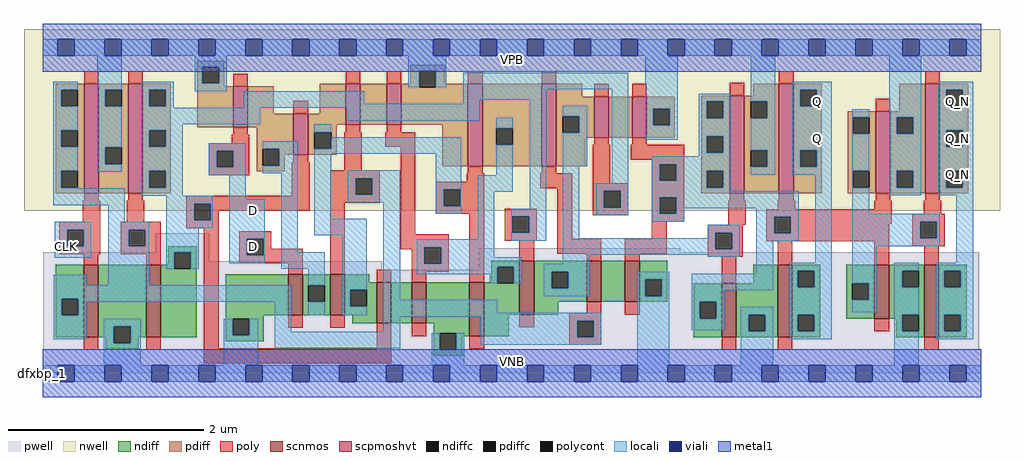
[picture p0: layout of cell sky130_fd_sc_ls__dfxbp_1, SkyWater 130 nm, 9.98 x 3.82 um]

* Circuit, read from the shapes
.subckt sky130_fd_sc_ls__dfxbp_1 CLK D VGND VNB VPB VPWR Q Q_N
XM1 VGND CLK n1 VNB sky130_fd_pr__nfet_01v8 w=0.74 l=0.15
XM2 n2 n1 VGND VNB sky130_fd_pr__nfet_01v8 w=0.74 l=0.15
XM3 n3 D VGND VNB sky130_fd_pr__nfet_01v8 w=0.42 l=0.15
XM4 n4 n1 n3 VNB sky130_fd_pr__nfet_01v8 w=0.42 l=0.15
XM5 n5 n2 n4 VNB sky130_fd_pr__nfet_01v8 w=0.42 l=0.15
XM6 VGND n6 n5 VNB sky130_fd_pr__nfet_01v8 w=0.42 l=0.15
XM7 n6 n4 VGND VNB sky130_fd_pr__nfet_01v8 w=0.55 l=0.15
XM8 n7 n2 n6 VNB sky130_fd_pr__nfet_01v8 w=0.55 l=0.15
XM9 n8 n1 n7 VNB sky130_fd_pr__nfet_01v8 w=0.42 l=0.15
XM10 VGND n9 n8 VNB sky130_fd_pr__nfet_01v8 w=0.42 l=0.15
XM11 VGND n7 n9 VNB sky130_fd_pr__nfet_01v8 w=0.55 l=0.15
XM12 Q n9 VGND VNB sky130_fd_pr__nfet_01v8 w=0.74 l=0.15
XM13 VGND n9 n10 VNB sky130_fd_pr__nfet_01v8 w=0.55 l=0.15
XM14 Q_N n10 VGND VNB sky130_fd_pr__nfet_01v8 w=0.74 l=0.15
XM15 VPWR CLK n1 VPB sky130_fd_pr__pfet_01v8_hvt w=1.12 l=0.15
XM16 n2 n1 VPWR VPB sky130_fd_pr__pfet_01v8_hvt w=1.12 l=0.15
XM17 n3 D VPWR VPB sky130_fd_pr__pfet_01v8_hvt w=0.42 l=0.15
XM18 n4 n2 n3 VPB sky130_fd_pr__pfet_01v8_hvt w=0.42 l=0.15
XM19 n11 n1 n4 VPB sky130_fd_pr__pfet_01v8_hvt w=0.42 l=0.15
XM20 VPWR n6 n11 VPB sky130_fd_pr__pfet_01v8_hvt w=0.42 l=0.15
XM21 n6 n4 VPWR VPB sky130_fd_pr__pfet_01v8_hvt w=0.84 l=0.15
XM22 n7 n1 n6 VPB sky130_fd_pr__pfet_01v8_hvt w=0.84 l=0.15
XM23 n12 n2 n7 VPB sky130_fd_pr__pfet_01v8_hvt w=0.42 l=0.15
XM24 VPWR n9 n12 VPB sky130_fd_pr__pfet_01v8_hvt w=0.42 l=0.15
XM25 VPWR n7 n9 VPB sky130_fd_pr__pfet_01v8_hvt w=1 l=0.15
XM26 Q n9 VPWR VPB sky130_fd_pr__pfet_01v8_hvt w=1.12 l=0.15
XM27 VPWR n9 n10 VPB sky130_fd_pr__pfet_01v8_hvt w=0.84 l=0.15
XM28 Q_N n10 VPWR VPB sky130_fd_pr__pfet_01v8_hvt w=1.12 l=0.15
.ends

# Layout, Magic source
magic
tech sky130A
magscale 1 2
<< nwell >>
rect -38 332 1958 704
<< pwell >>
rect 231 248 341 286
rect 1 229 341 248
rect 892 248 1304 256
rect 1 212 694 229
rect 892 212 1916 248
rect 1 49 1916 212
rect 0 0 1920 49
<< scnmos >>
rect 84 74 114 222
rect 212 74 242 222
rect 502 119 532 203
rect 588 119 618 203
rect 683 102 713 186
rect 755 102 785 186
rect 873 76 903 186
rect 975 120 1005 230
rect 1113 146 1143 230
rect 1191 146 1221 230
rect 1389 74 1419 184
rect 1503 74 1533 222
rect 1701 112 1731 222
rect 1803 74 1833 222
<< scpmoshvt >>
rect 85 368 115 592
rect 175 368 205 592
rect 390 503 420 587
rect 513 447 543 531
rect 620 508 650 592
rect 704 508 734 592
rect 870 424 900 592
rect 1021 424 1051 592
rect 1128 482 1158 566
rect 1206 482 1236 566
rect 1405 368 1435 568
rect 1506 368 1536 592
rect 1704 368 1734 536
rect 1805 368 1835 592
<< ndiff >>
rect 257 248 315 260
rect 257 222 269 248
rect 27 153 84 222
rect 27 119 39 153
rect 73 119 84 153
rect 27 74 84 119
rect 114 96 212 222
rect 114 74 146 96
rect 129 62 146 74
rect 180 74 212 96
rect 242 214 269 222
rect 303 214 315 248
rect 242 74 315 214
rect 180 62 197 74
rect 129 50 197 62
rect 375 119 502 203
rect 532 180 588 203
rect 532 146 543 180
rect 577 146 588 180
rect 532 119 588 146
rect 618 186 668 203
rect 918 218 975 230
rect 918 186 930 218
rect 618 171 683 186
rect 618 137 629 171
rect 663 137 683 171
rect 618 119 683 137
rect 375 112 452 119
rect 375 78 389 112
rect 423 78 452 112
rect 633 102 683 119
rect 713 102 755 186
rect 785 102 873 186
rect 375 66 452 78
rect 800 82 873 102
rect 800 48 812 82
rect 846 76 873 82
rect 903 184 930 186
rect 964 184 975 218
rect 903 120 975 184
rect 1005 208 1113 230
rect 1005 174 1041 208
rect 1075 174 1113 208
rect 1005 146 1113 174
rect 1143 146 1191 230
rect 1221 192 1278 230
rect 1221 158 1232 192
rect 1266 158 1278 192
rect 1453 184 1503 222
rect 1221 146 1278 158
rect 1332 146 1389 184
rect 1005 120 1055 146
rect 903 76 953 120
rect 846 48 858 76
rect 1332 112 1344 146
rect 1378 112 1389 146
rect 1332 74 1389 112
rect 1419 120 1503 184
rect 1419 86 1444 120
rect 1478 86 1503 120
rect 1419 74 1503 86
rect 1533 210 1590 222
rect 1533 176 1544 210
rect 1578 176 1590 210
rect 1533 120 1590 176
rect 1533 86 1544 120
rect 1578 86 1590 120
rect 1644 184 1701 222
rect 1644 150 1656 184
rect 1690 150 1701 184
rect 1644 112 1701 150
rect 1731 210 1803 222
rect 1731 176 1758 210
rect 1792 176 1803 210
rect 1731 120 1803 176
rect 1731 112 1758 120
rect 1746 86 1758 112
rect 1792 86 1803 120
rect 1533 74 1590 86
rect 1746 74 1803 86
rect 1833 210 1890 222
rect 1833 176 1844 210
rect 1878 176 1890 210
rect 1833 120 1890 176
rect 1833 86 1844 120
rect 1878 86 1890 120
rect 1833 74 1890 86
rect 800 36 858 48
<< pdiff >>
rect 316 627 372 639
rect 316 593 327 627
rect 361 593 372 627
rect 752 619 822 631
rect 27 580 85 592
rect 27 546 38 580
rect 72 546 85 580
rect 27 497 85 546
rect 27 463 38 497
rect 72 463 85 497
rect 27 414 85 463
rect 27 380 38 414
rect 72 380 85 414
rect 27 368 85 380
rect 115 580 175 592
rect 115 546 128 580
rect 162 546 175 580
rect 115 462 175 546
rect 115 428 128 462
rect 162 428 175 462
rect 115 368 175 428
rect 205 580 262 592
rect 205 546 218 580
rect 252 546 262 580
rect 205 497 262 546
rect 316 587 372 593
rect 752 592 770 619
rect 316 503 390 587
rect 420 531 473 587
rect 567 531 620 592
rect 420 503 513 531
rect 205 463 218 497
rect 252 463 262 497
rect 205 414 262 463
rect 205 380 218 414
rect 252 380 262 414
rect 438 459 513 503
rect 438 425 450 459
rect 484 447 513 459
rect 543 508 620 531
rect 650 508 704 592
rect 734 585 770 592
rect 804 592 822 619
rect 804 585 870 592
rect 734 508 870 585
rect 543 493 602 508
rect 543 459 556 493
rect 590 459 602 493
rect 543 447 602 459
rect 484 425 495 447
rect 438 413 495 425
rect 205 368 262 380
rect 817 424 870 508
rect 900 501 1021 592
rect 900 467 928 501
rect 962 467 1021 501
rect 900 424 1021 467
rect 1051 566 1104 592
rect 1453 568 1506 592
rect 1051 526 1128 566
rect 1051 492 1064 526
rect 1098 492 1128 526
rect 1051 482 1128 492
rect 1158 482 1206 566
rect 1236 541 1293 566
rect 1236 507 1249 541
rect 1283 507 1293 541
rect 1236 482 1293 507
rect 1347 556 1405 568
rect 1347 522 1358 556
rect 1392 522 1405 556
rect 1347 485 1405 522
rect 1051 424 1110 482
rect 1347 451 1358 485
rect 1392 451 1405 485
rect 1347 414 1405 451
rect 1347 380 1358 414
rect 1392 380 1405 414
rect 1347 368 1405 380
rect 1435 556 1506 568
rect 1435 522 1448 556
rect 1482 522 1506 556
rect 1435 456 1506 522
rect 1435 422 1448 456
rect 1482 422 1506 456
rect 1435 368 1506 422
rect 1536 580 1593 592
rect 1536 546 1549 580
rect 1583 546 1593 580
rect 1536 456 1593 546
rect 1752 536 1805 592
rect 1536 422 1549 456
rect 1583 422 1593 456
rect 1536 368 1593 422
rect 1647 524 1704 536
rect 1647 490 1657 524
rect 1691 490 1704 524
rect 1647 414 1704 490
rect 1647 380 1657 414
rect 1691 380 1704 414
rect 1647 368 1704 380
rect 1734 524 1805 536
rect 1734 490 1747 524
rect 1781 490 1805 524
rect 1734 414 1805 490
rect 1734 380 1747 414
rect 1781 380 1805 414
rect 1734 368 1805 380
rect 1835 580 1893 592
rect 1835 546 1848 580
rect 1882 546 1893 580
rect 1835 497 1893 546
rect 1835 463 1848 497
rect 1882 463 1893 497
rect 1835 414 1893 463
rect 1835 380 1848 414
rect 1882 380 1893 414
rect 1835 368 1893 380
<< ndiffc >>
rect 39 119 73 153
rect 146 62 180 96
rect 269 214 303 248
rect 543 146 577 180
rect 629 137 663 171
rect 389 78 423 112
rect 812 48 846 82
rect 930 184 964 218
rect 1041 174 1075 208
rect 1232 158 1266 192
rect 1344 112 1378 146
rect 1444 86 1478 120
rect 1544 176 1578 210
rect 1544 86 1578 120
rect 1656 150 1690 184
rect 1758 176 1792 210
rect 1758 86 1792 120
rect 1844 176 1878 210
rect 1844 86 1878 120
<< pdiffc >>
rect 327 593 361 627
rect 38 546 72 580
rect 38 463 72 497
rect 38 380 72 414
rect 128 546 162 580
rect 128 428 162 462
rect 218 546 252 580
rect 218 463 252 497
rect 218 380 252 414
rect 450 425 484 459
rect 770 585 804 619
rect 556 459 590 493
rect 928 467 962 501
rect 1064 492 1098 526
rect 1249 507 1283 541
rect 1358 522 1392 556
rect 1358 451 1392 485
rect 1358 380 1392 414
rect 1448 522 1482 556
rect 1448 422 1482 456
rect 1549 546 1583 580
rect 1549 422 1583 456
rect 1657 490 1691 524
rect 1657 380 1691 414
rect 1747 490 1781 524
rect 1747 380 1781 414
rect 1848 546 1882 580
rect 1848 463 1882 497
rect 1848 380 1882 414
<< poly >>
rect 85 592 115 618
rect 175 592 205 618
rect 390 587 420 613
rect 620 592 650 618
rect 704 592 734 618
rect 513 531 543 557
rect 390 488 420 503
rect 387 471 423 488
rect 340 455 423 471
rect 340 421 356 455
rect 390 421 423 455
rect 340 405 423 421
rect 870 592 900 618
rect 1021 592 1051 618
rect 620 493 650 508
rect 704 493 734 508
rect 513 432 543 447
rect 85 353 115 368
rect 175 353 205 368
rect 510 363 546 432
rect 617 415 653 493
rect 701 463 762 493
rect 82 310 118 353
rect 172 310 208 353
rect 294 347 546 363
rect 294 313 310 347
rect 344 333 546 347
rect 588 399 690 415
rect 588 365 640 399
rect 674 365 690 399
rect 588 349 690 365
rect 344 313 360 333
rect 34 294 118 310
rect 34 260 50 294
rect 84 260 118 294
rect 34 244 118 260
rect 160 294 242 310
rect 294 297 360 313
rect 160 260 176 294
rect 210 260 242 294
rect 160 244 242 260
rect 84 222 114 244
rect 212 222 242 244
rect 84 48 114 74
rect 212 48 242 74
rect 330 51 360 297
rect 402 275 468 291
rect 402 241 418 275
rect 452 255 468 275
rect 452 241 532 255
rect 402 225 532 241
rect 502 203 532 225
rect 588 203 618 349
rect 732 284 762 463
rect 1128 566 1158 592
rect 1206 566 1236 592
rect 1405 568 1435 594
rect 1506 592 1536 618
rect 1805 592 1835 618
rect 1128 467 1158 482
rect 1206 467 1236 482
rect 870 409 900 424
rect 1021 409 1051 424
rect 867 392 903 409
rect 804 376 903 392
rect 1018 379 1083 409
rect 804 342 820 376
rect 854 342 903 376
rect 804 326 903 342
rect 732 258 831 284
rect 732 254 781 258
rect 755 224 781 254
rect 815 224 831 258
rect 683 186 713 212
rect 755 208 831 224
rect 755 186 785 208
rect 873 186 903 326
rect 945 321 1011 337
rect 945 287 961 321
rect 995 287 1011 321
rect 945 271 1011 287
rect 1053 275 1083 379
rect 1125 389 1161 467
rect 1203 437 1312 467
rect 1246 428 1312 437
rect 1246 394 1262 428
rect 1296 394 1312 428
rect 1125 373 1198 389
rect 1125 339 1148 373
rect 1182 339 1198 373
rect 1125 323 1198 339
rect 1246 360 1312 394
rect 1704 536 1734 562
rect 1246 326 1262 360
rect 1296 326 1312 360
rect 1405 353 1435 368
rect 1506 353 1536 368
rect 1704 353 1734 368
rect 1805 353 1835 368
rect 1246 310 1312 326
rect 1246 275 1276 310
rect 1402 304 1438 353
rect 1503 336 1539 353
rect 1701 336 1737 353
rect 1480 320 1737 336
rect 1802 326 1838 353
rect 975 230 1005 271
rect 1053 245 1143 275
rect 1113 230 1143 245
rect 1191 245 1276 275
rect 1360 288 1432 304
rect 1360 254 1376 288
rect 1410 254 1432 288
rect 1480 286 1496 320
rect 1530 306 1737 320
rect 1779 310 1845 326
rect 1530 286 1731 306
rect 1480 270 1731 286
rect 1191 230 1221 245
rect 1360 238 1432 254
rect 502 93 532 119
rect 588 93 618 119
rect 683 51 713 102
rect 755 76 785 102
rect 330 21 713 51
rect 1389 184 1419 238
rect 1503 222 1533 270
rect 1701 222 1731 270
rect 1779 276 1795 310
rect 1829 276 1845 310
rect 1779 260 1845 276
rect 1803 222 1833 260
rect 1113 124 1143 146
rect 975 94 1005 120
rect 1077 108 1143 124
rect 1191 120 1221 146
rect 873 50 903 76
rect 1077 74 1093 108
rect 1127 74 1143 108
rect 1701 86 1731 112
rect 1077 58 1143 74
rect 1389 48 1419 74
rect 1503 48 1533 74
rect 1803 48 1833 74
<< polycont >>
rect 356 421 390 455
rect 310 313 344 347
rect 640 365 674 399
rect 50 260 84 294
rect 176 260 210 294
rect 418 241 452 275
rect 820 342 854 376
rect 781 224 815 258
rect 961 287 995 321
rect 1262 394 1296 428
rect 1148 339 1182 373
rect 1262 326 1296 360
rect 1376 254 1410 288
rect 1496 286 1530 320
rect 1795 276 1829 310
rect 1093 74 1127 108
<< locali >>
rect 0 649 31 683
rect 65 649 127 683
rect 161 649 223 683
rect 257 649 319 683
rect 353 649 415 683
rect 449 649 511 683
rect 545 649 607 683
rect 641 649 703 683
rect 737 649 799 683
rect 833 649 895 683
rect 929 649 991 683
rect 1025 649 1087 683
rect 1121 649 1183 683
rect 1217 649 1279 683
rect 1313 649 1375 683
rect 1409 649 1471 683
rect 1505 649 1567 683
rect 1601 649 1663 683
rect 1697 649 1759 683
rect 1793 649 1855 683
rect 1889 649 1920 683
rect 22 580 72 596
rect 22 546 38 580
rect 22 497 72 546
rect 22 463 38 497
rect 22 414 72 463
rect 22 380 38 414
rect 112 580 162 649
rect 311 627 377 649
rect 112 546 128 580
rect 112 462 162 546
rect 112 428 128 462
rect 112 412 162 428
rect 202 580 268 596
rect 202 546 218 580
rect 252 546 268 580
rect 311 593 327 627
rect 361 593 377 627
rect 311 577 377 593
rect 748 619 826 649
rect 748 585 770 619
rect 804 585 826 619
rect 860 581 1198 615
rect 202 543 268 546
rect 411 551 658 577
rect 860 560 1030 581
rect 860 551 894 560
rect 411 543 894 551
rect 202 509 445 543
rect 624 517 894 543
rect 202 497 287 509
rect 202 463 218 497
rect 252 463 287 497
rect 556 493 590 509
rect 202 414 287 463
rect 22 378 72 380
rect 202 380 218 414
rect 252 380 287 414
rect 340 455 416 471
rect 340 421 356 455
rect 390 421 416 455
rect 340 405 416 421
rect 450 459 522 475
rect 484 425 522 459
rect 450 409 522 425
rect 22 344 168 378
rect 202 363 287 380
rect 134 310 168 344
rect 253 347 348 363
rect 253 313 310 347
rect 344 313 348 347
rect 25 294 100 310
rect 25 260 50 294
rect 84 260 100 294
rect 25 236 100 260
rect 134 294 218 310
rect 134 260 176 294
rect 210 260 218 294
rect 23 180 89 202
rect 134 180 218 260
rect 253 297 348 313
rect 382 356 416 405
rect 253 248 319 297
rect 253 214 269 248
rect 303 214 319 248
rect 382 275 454 356
rect 382 241 418 275
rect 452 241 454 275
rect 382 225 454 241
rect 488 248 522 409
rect 928 501 962 523
rect 590 459 856 483
rect 556 449 856 459
rect 556 316 590 449
rect 624 399 731 415
rect 624 365 640 399
rect 674 365 731 399
rect 624 350 731 365
rect 556 282 663 316
rect 488 214 577 248
rect 543 180 577 214
rect 23 153 509 180
rect 23 119 39 153
rect 73 146 509 153
rect 73 119 89 146
rect 23 70 89 119
rect 125 96 201 112
rect 125 62 146 96
rect 180 62 201 96
rect 125 17 201 62
rect 371 78 389 112
rect 423 78 441 112
rect 371 17 441 78
rect 475 85 509 146
rect 543 119 577 146
rect 613 171 663 282
rect 613 137 629 171
rect 613 119 663 137
rect 697 150 731 350
rect 804 376 856 449
rect 928 405 962 467
rect 804 342 820 376
rect 854 342 856 376
rect 804 326 856 342
rect 890 371 962 405
rect 890 274 924 371
rect 996 337 1030 560
rect 765 258 924 274
rect 958 321 1030 337
rect 958 287 961 321
rect 995 287 1030 321
rect 958 271 1030 287
rect 1064 526 1114 547
rect 1098 492 1114 526
rect 1064 423 1114 492
rect 1064 276 1098 423
rect 1164 389 1198 581
rect 1233 541 1299 649
rect 1233 507 1249 541
rect 1283 507 1299 541
rect 1233 478 1299 507
rect 1342 556 1408 572
rect 1342 522 1358 556
rect 1392 522 1408 556
rect 1342 485 1408 522
rect 1342 451 1358 485
rect 1392 451 1408 485
rect 1342 444 1408 451
rect 1132 373 1198 389
rect 1132 339 1148 373
rect 1182 339 1198 373
rect 1132 323 1198 339
rect 1246 428 1408 444
rect 1246 394 1262 428
rect 1296 414 1408 428
rect 1296 394 1358 414
rect 1246 380 1358 394
rect 1392 380 1408 414
rect 1448 556 1498 649
rect 1482 522 1498 556
rect 1448 456 1498 522
rect 1482 422 1498 456
rect 1448 406 1498 422
rect 1533 580 1614 596
rect 1533 546 1549 580
rect 1583 546 1614 580
rect 1533 456 1614 546
rect 1533 422 1549 456
rect 1583 422 1614 456
rect 1533 406 1614 422
rect 1246 372 1408 380
rect 1246 360 1546 372
rect 1246 326 1262 360
rect 1296 338 1546 360
rect 1296 326 1312 338
rect 1246 310 1312 326
rect 1460 320 1546 338
rect 1360 288 1426 304
rect 1360 276 1376 288
rect 765 224 781 258
rect 815 237 924 258
rect 1064 254 1376 276
rect 1410 254 1426 288
rect 1064 242 1426 254
rect 815 224 980 237
rect 1064 224 1118 242
rect 1360 238 1426 242
rect 1460 286 1496 320
rect 1530 286 1546 320
rect 1460 270 1546 286
rect 765 218 980 224
rect 765 203 930 218
rect 914 184 930 203
rect 964 184 980 218
rect 1025 208 1118 224
rect 1025 174 1041 208
rect 1075 174 1118 208
rect 1025 158 1118 174
rect 1216 192 1282 208
rect 1460 204 1494 270
rect 1580 226 1614 406
rect 1216 158 1232 192
rect 1266 158 1282 192
rect 697 124 930 150
rect 697 116 1143 124
rect 697 85 731 116
rect 475 51 731 85
rect 896 108 1143 116
rect 796 48 812 82
rect 846 48 862 82
rect 896 74 1093 108
rect 1127 74 1143 108
rect 896 58 1143 74
rect 796 17 862 48
rect 1216 17 1282 158
rect 1328 170 1494 204
rect 1528 210 1614 226
rect 1528 176 1544 210
rect 1578 176 1614 210
rect 1328 146 1394 170
rect 1328 112 1344 146
rect 1378 112 1394 146
rect 1328 88 1394 112
rect 1428 120 1494 136
rect 1428 86 1444 120
rect 1478 86 1494 120
rect 1428 17 1494 86
rect 1528 120 1614 176
rect 1656 524 1691 540
rect 1656 490 1657 524
rect 1656 414 1691 490
rect 1656 380 1657 414
rect 1656 326 1691 380
rect 1731 524 1797 649
rect 1731 490 1747 524
rect 1781 490 1797 524
rect 1731 414 1797 490
rect 1731 380 1747 414
rect 1781 380 1797 414
rect 1731 364 1797 380
rect 1832 580 1903 596
rect 1832 546 1848 580
rect 1882 546 1903 580
rect 1832 497 1903 546
rect 1832 463 1848 497
rect 1882 463 1903 497
rect 1832 414 1903 463
rect 1832 380 1848 414
rect 1882 380 1903 414
rect 1832 364 1903 380
rect 1656 310 1835 326
rect 1656 276 1795 310
rect 1829 276 1835 310
rect 1656 260 1835 276
rect 1656 184 1706 260
rect 1869 226 1903 364
rect 1690 150 1706 184
rect 1656 125 1706 150
rect 1742 210 1792 226
rect 1742 176 1758 210
rect 1528 86 1544 120
rect 1578 86 1614 120
rect 1528 70 1614 86
rect 1742 120 1792 176
rect 1742 86 1758 120
rect 1742 17 1792 86
rect 1828 210 1903 226
rect 1828 176 1844 210
rect 1878 176 1903 210
rect 1828 120 1903 176
rect 1828 86 1844 120
rect 1878 86 1903 120
rect 1828 70 1903 86
rect 0 -17 31 17
rect 65 -17 127 17
rect 161 -17 223 17
rect 257 -17 319 17
rect 353 -17 415 17
rect 449 -17 511 17
rect 545 -17 607 17
rect 641 -17 703 17
rect 737 -17 799 17
rect 833 -17 895 17
rect 929 -17 991 17
rect 1025 -17 1087 17
rect 1121 -17 1183 17
rect 1217 -17 1279 17
rect 1313 -17 1375 17
rect 1409 -17 1471 17
rect 1505 -17 1567 17
rect 1601 -17 1663 17
rect 1697 -17 1759 17
rect 1793 -17 1855 17
rect 1889 -17 1920 17
<< viali >>
rect 31 649 65 683
rect 127 649 161 683
rect 223 649 257 683
rect 319 649 353 683
rect 415 649 449 683
rect 511 649 545 683
rect 607 649 641 683
rect 703 649 737 683
rect 799 649 833 683
rect 895 649 929 683
rect 991 649 1025 683
rect 1087 649 1121 683
rect 1183 649 1217 683
rect 1279 649 1313 683
rect 1375 649 1409 683
rect 1471 649 1505 683
rect 1567 649 1601 683
rect 1663 649 1697 683
rect 1759 649 1793 683
rect 1855 649 1889 683
rect 31 -17 65 17
rect 127 -17 161 17
rect 223 -17 257 17
rect 319 -17 353 17
rect 415 -17 449 17
rect 511 -17 545 17
rect 607 -17 641 17
rect 703 -17 737 17
rect 799 -17 833 17
rect 895 -17 929 17
rect 991 -17 1025 17
rect 1087 -17 1121 17
rect 1183 -17 1217 17
rect 1279 -17 1313 17
rect 1375 -17 1409 17
rect 1471 -17 1505 17
rect 1567 -17 1601 17
rect 1663 -17 1697 17
rect 1759 -17 1793 17
rect 1855 -17 1889 17
<< metal1 >>
rect 0 683 1920 715
rect 0 649 31 683
rect 65 649 127 683
rect 161 649 223 683
rect 257 649 319 683
rect 353 649 415 683
rect 449 649 511 683
rect 545 649 607 683
rect 641 649 703 683
rect 737 649 799 683
rect 833 649 895 683
rect 929 649 991 683
rect 1025 649 1087 683
rect 1121 649 1183 683
rect 1217 649 1279 683
rect 1313 649 1375 683
rect 1409 649 1471 683
rect 1505 649 1567 683
rect 1601 649 1663 683
rect 1697 649 1759 683
rect 1793 649 1855 683
rect 1889 649 1920 683
rect 0 617 1920 649
rect 0 17 1920 49
rect 0 -17 31 17
rect 65 -17 127 17
rect 161 -17 223 17
rect 257 -17 319 17
rect 353 -17 415 17
rect 449 -17 511 17
rect 545 -17 607 17
rect 641 -17 703 17
rect 737 -17 799 17
rect 833 -17 895 17
rect 929 -17 991 17
rect 1025 -17 1087 17
rect 1121 -17 1183 17
rect 1217 -17 1279 17
rect 1313 -17 1375 17
rect 1409 -17 1471 17
rect 1505 -17 1567 17
rect 1601 -17 1663 17
rect 1697 -17 1759 17
rect 1793 -17 1855 17
rect 1889 -17 1920 17
rect 0 -49 1920 -17
<< labels >>
rlabel comment s 0 0 0 0 4 dfxbp_1
flabel pwell s 0 0 1920 49 0 FreeSans 200 0 0 0 VNB
port 4 nsew ground bidirectional
flabel nwell s 0 617 1920 666 0 FreeSans 200 0 0 0 VPB
port 5 nsew power bidirectional
flabel metal1 s 0 617 1920 666 0 FreeSans 340 0 0 0 VPWR
port 6 nsew power bidirectional abutment
flabel metal1 s 0 0 1920 49 0 FreeSans 340 0 0 0 VGND
port 3 nsew ground bidirectional abutment
flabel locali s 415 242 449 276 0 FreeSans 340 0 0 0 D
port 2 nsew signal input
flabel locali s 415 316 449 350 0 FreeSans 340 0 0 0 D
port 2 nsew signal input
flabel locali s 31 242 65 276 0 FreeSans 340 0 0 0 CLK
port 1 nsew clock input
flabel locali s 1567 464 1601 498 0 FreeSans 340 0 0 0 Q
port 7 nsew signal output
flabel locali s 1567 538 1601 572 0 FreeSans 340 0 0 0 Q
port 7 nsew signal output
flabel locali s 1855 390 1889 424 0 FreeSans 340 0 0 0 Q_N
port 8 nsew signal output
flabel locali s 1855 464 1889 498 0 FreeSans 340 0 0 0 Q_N
port 8 nsew signal output
flabel locali s 1855 538 1889 572 0 FreeSans 340 0 0 0 Q_N
port 8 nsew signal output
<< properties >>
string LEFsite unit
string LEFclass CORE
string FIXED_BBOX 0 0 1920 666
string GDS_FILE $PDKPATH/libs.ref/sky130_fd_sc_ls/gds/sky130_fd_sc_ls.gds
string LEFsymmetry X Y
string GDS_END 1939282
string GDS_START 1924316
<< end >>
